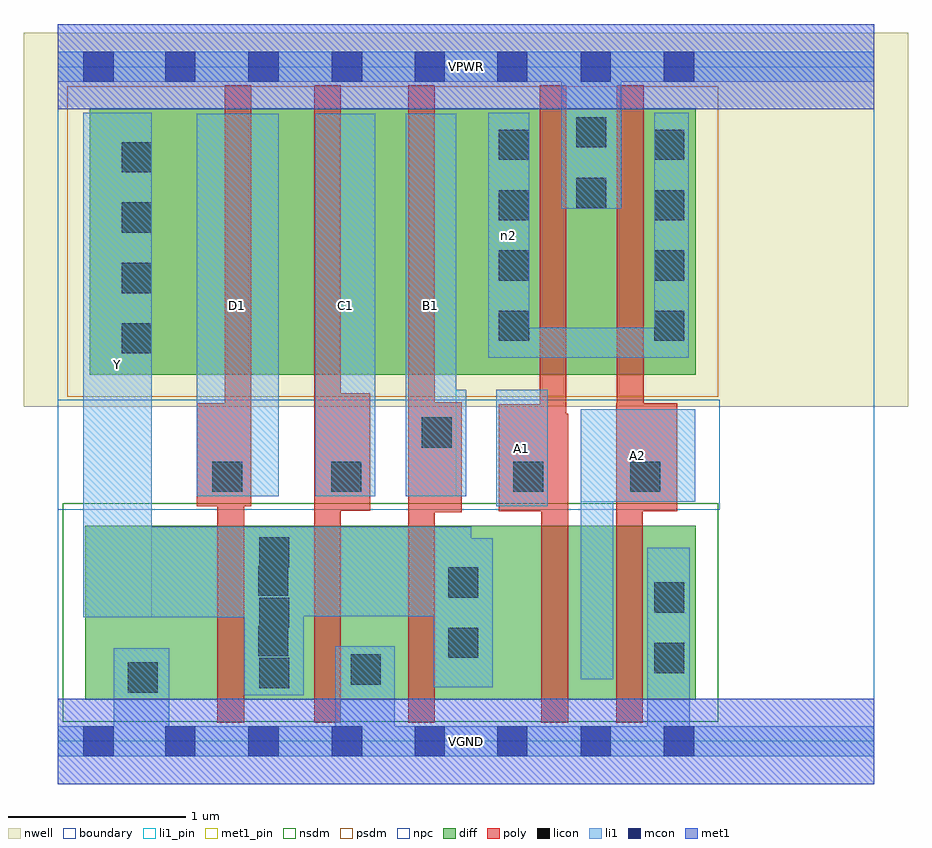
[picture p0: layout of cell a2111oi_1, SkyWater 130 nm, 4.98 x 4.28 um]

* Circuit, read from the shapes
.subckt a2111oi_1 A1 A2 B1 C1 D1 VGND VPWR Y n2
XM1 Y D1 VGND VSUBS sky130_fd_pr__nfet_01v8 w=0.98 l=0.15
XM2 VGND C1 Y VSUBS sky130_fd_pr__nfet_01v8 w=0.98 l=0.15
XM3 Y B1 VGND VSUBS sky130_fd_pr__nfet_01v8 w=0.98 l=0.15
XM4 n1 A1 Y VSUBS sky130_fd_pr__nfet_01v8 w=0.98 l=0.15
XM5 VGND A2 n1 VSUBS sky130_fd_pr__nfet_01v8 w=0.98 l=0.15
XM6 n3 D1 Y n4 sky130_fd_pr__pfet_01v8 w=1.5 l=0.15
XM7 n5 C1 n3 n4 sky130_fd_pr__pfet_01v8 w=1.5 l=0.15
XM8 n2 B1 n5 n4 sky130_fd_pr__pfet_01v8 w=1.5 l=0.15
XM9 VPWR A1 n2 n4 sky130_fd_pr__pfet_01v8 w=1.5 l=0.15
XM10 n2 A2 VPWR n4 sky130_fd_pr__pfet_01v8 w=1.5 l=0.15
.ends

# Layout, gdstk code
import gdstk
lib = gdstk.Library(unit=1e-6, precision=1e-09)
def R(c, l, rs):  # rectangles x0, y0, x1, y1
    for r in rs: c.add(gdstk.rectangle(r[:2], r[2:], *l))
def A(c, l, x, y, w, h, nx, ny, dx, dy):  # array of equal rectangles
    R(c, l, [(x+i*dx, y+j*dy, x+i*dx+w, y+j*dy+h) for i in range(nx) for j in range(ny)])
nwell = (64, 20)
diff = (65, 20)
poly = (66, 20)
licon = (66, 44)
li1_pin = (67, 16)
li1 = (67, 20)
mcon = (67, 44)
met1_pin = (68, 16)
met1 = (68, 20)
nsdm = (93, 44)
psdm = (94, 20)
npc = (95, 20)
boundary = (235, 4)

a2111oi_1 = lib.new_cell('a2111oi_1')
R(a2111oi_1, nwell, [(-0.19,1.885,4.79,3.99), (0,1.885,4.6,3.99)])
R(a2111oi_1, diff, [(0.155,0.235,3.595,1.215), (0.18,2.065,3.595,3.565)])
R(a2111oi_1, poly, [(0.9,0.105,1.05,1.905), (1.445,0.105,1.595,3.695), (1.975,0.105,2.125,3.695), (2.725,0.105,2.875,1.845), (3.145,0.105,3.295,1.905), (1.975,1.29,2.275,1.91), (2.485,1.295,2.865,1.9), (2.715,1.295,2.865,3.695), (3.145,1.295,3.49,1.905), (3.15,1.295,3.3,3.695), (1.445,1.3,1.76,1.96), (0.785,1.325,1.09,1.905), (0.94,1.325,1.09,3.695)])
A(a2111oi_1, licon, 1.135, 0.3, 0.17, 0.17, 1, 3, 0, 0.34)
A(a2111oi_1, licon, 0.36, 2.185, 0.17, 0.17, 1, 4, 0, 0.34)
A(a2111oi_1, licon, 2.485, 2.255, 0.17, 0.17, 1, 4, 0, 0.34)
A(a2111oi_1, licon, 3.36, 2.255, 0.17, 0.17, 1, 4, 0, 0.34)
R(a2111oi_1, licon, [(0.395,0.275,0.565,0.445), (1.65,0.32,1.82,0.49), (3.36,0.385,3.53,0.555), (2.2,0.47,2.37,0.64), (1.13,0.48,1.3,0.65), (3.36,0.725,3.53,0.895), (2.2,0.81,2.37,0.98), (1.13,0.82,1.3,0.99), (0.87,1.405,1.04,1.575), (1.54,1.405,1.71,1.575), (2.565,1.405,2.735,1.575), (3.225,1.405,3.395,1.575), (2.05,1.655,2.22,1.825), (2.92,3.005,3.09,3.175), (2.92,3.345,3.09,3.515)])
R(a2111oi_1, li1_pin, [(0.145,0.7,0.53,3.54), (2.47,1.325,2.76,1.98), (2.945,1.35,3.59,1.87), (0.785,1.38,1.245,3.535), (1.45,1.38,1.79,3.535), (1.96,1.38,2.245,3.535)])
R(a2111oi_1, li1, [(0,-0.085,4.6,0.085), (0.315,-0.085,0.63,0.525), (1.565,-0.085,1.9,0.535), (3.32,-0.085,3.56,1.09), (1.05,0.26,1.385,1.21), (2.115,0.305,2.45,0.705), (2.115,0.305,2.33,1.21), (2.945,0.35,3.13,1.87), (0.145,0.7,0.53,3.54), (0.145,0.7,1.385,1.21), (0.145,0.705,2.115,1.21), (0.145,0.705,2.45,1.145), (2.47,1.325,2.76,1.98), (2.945,1.35,3.59,1.87), (0.785,1.38,1.245,3.535), (1.45,1.38,1.79,3.535), (1.96,1.38,2.245,3.535), (1.96,1.38,2.3,1.98), (2.425,2.16,2.655,3.54), (2.425,2.16,3.555,2.33), (3.36,2.16,3.555,3.54), (2.835,3,3.175,3.885), (0,3.715,4.6,3.885)])
A(a2111oi_1, mcon, 0.605, -0.085, 0.17, 0.17, 3, 2, 0.47, 3.8)
A(a2111oi_1, mcon, 2.475, -0.085, 0.17, 0.17, 3, 2, 0.47, 3.8)
R(a2111oi_1, mcon, [(0.145,-0.085,0.315,0.085), (2.01,-0.085,2.18,0.085), (0.145,3.715,0.315,3.885), (2.01,3.715,2.18,3.885)])
R(a2111oi_1, met1_pin, [(0,-0.24,4.6,0.24), (0,3.56,4.6,4.04)])
R(a2111oi_1, met1, [(0,-0.24,4.6,0.24), (0,3.56,4.6,4.04)])
R(a2111oi_1, nsdm, [(0.03,0.11,3.72,1.34)])
R(a2111oi_1, psdm, [(0.055,1.94,3.72,3.69)])
R(a2111oi_1, npc, [(0,1.305,3.73,1.925)])
R(a2111oi_1, boundary, [(0,0,4.6,3.8)])
a2111oi_1.add(gdstk.Label('A1', (2.615,1.652), layer=67, texttype=5))
a2111oi_1.add(gdstk.Label('A2', (3.267,1.61), layer=67, texttype=5))
a2111oi_1.add(gdstk.Label('B1', (2.102,2.457), layer=67, texttype=5))
a2111oi_1.add(gdstk.Label('C1', (1.62,2.457), layer=67, texttype=5))
a2111oi_1.add(gdstk.Label('D1', (1.015,2.457), layer=67, texttype=5))
a2111oi_1.add(gdstk.Label('Y', (0.337,2.12), layer=67, texttype=5))
a2111oi_1.add(gdstk.Label('n2', (2.54,2.85), layer=67, texttype=5))
a2111oi_1.add(gdstk.Label('VPWR', (2.3,3.8), layer=68, texttype=5))
a2111oi_1.add(gdstk.Label('VGND', (2.3,0), layer=68, texttype=5))
a2111oi_1.add(gdstk.Label('A1', (2.615,1.652), layer=67, texttype=16))
a2111oi_1.add(gdstk.Label('A2', (3.267,1.61), layer=67, texttype=16))
a2111oi_1.add(gdstk.Label('B1', (2.102,2.457), layer=67, texttype=16))
a2111oi_1.add(gdstk.Label('C1', (1.62,2.457), layer=67, texttype=16))
a2111oi_1.add(gdstk.Label('D1', (1.015,2.457), layer=67, texttype=16))
a2111oi_1.add(gdstk.Label('Y', (0.337,2.12), layer=67, texttype=16))
a2111oi_1.add(gdstk.Label('VPWR', (2.3,3.8), layer=68, texttype=16))
a2111oi_1.add(gdstk.Label('VGND', (2.3,0), layer=68, texttype=16))

lib.write_gds('a2111oi_1.gds')
